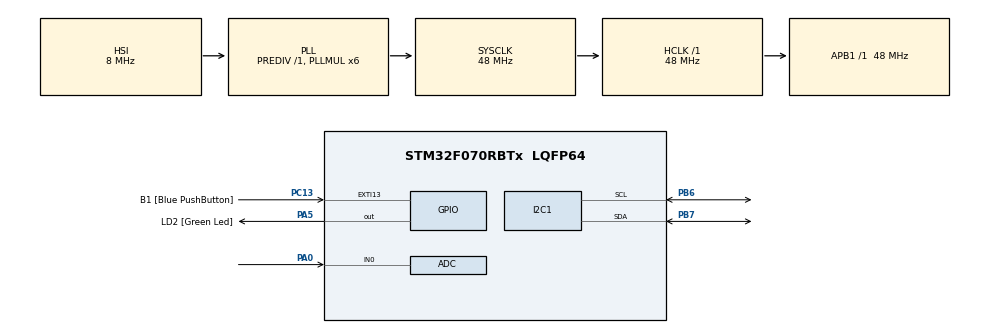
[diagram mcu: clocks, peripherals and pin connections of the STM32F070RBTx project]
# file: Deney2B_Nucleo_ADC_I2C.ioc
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ADC.ContinuousConvMode=ENABLE
I2C1.Timing=0x00201D2B
Mcu.Family=STM32F0
Mcu.Name=STM32F070RBTx
Mcu.Package=LQFP64
PA0.Mode=IN0
PA0.Signal=ADC_IN0
PA13.GPIO_Label=TMS
PA13.Signal=SYS_SWDIO
PA2.GPIO_Label=USART_TX
PA2.Signal=USART2_TX
PA3.GPIO_Label=USART_RX
PA3.Signal=USART2_RX
PA5.GPIO_Label=LD2 [Green Led]
PA5.Signal=GPIO_Output
PB6.Mode=I2C
PB6.Signal=I2C1_SCL
PB7.Mode=I2C
PB7.Signal=I2C1_SDA
PC13.GPIO_Label=B1 [Blue PushButton]
PC13.GPIO_ModeDefaultEXTI=GPIO_MODE_IT_FALLING
PC13.Signal=GPXTI13
PC14-OSC32_IN.GPIO_Label=RCC_OSC32_IN
PC14-OSC32_IN.Signal=RCC_OSC32_IN
PC15-OSC32_OUT.GPIO_Label=RCC_OSC32_OUT
PC15-OSC32_OUT.Signal=RCC_OSC32_OUT
PF0-OSC_IN.GPIO_Label=RCC_OSC_IN
PF0-OSC_IN.Signal=RCC_OSC_IN
PF1-OSC_OUT.GPIO_Label=RCC_OSC_OUT
PF1-OSC_OUT.Signal=RCC_OSC_OUT
ProjectManager.HeapSize=0x200
ProjectManager.StackSize=0x400
ProjectManager.TargetToolchain=STM32CubeIDE
RCC.AHBFreq_Value=48000000
RCC.APB1Freq_Value=48000000
RCC.APB1TimFreq_Value=48000000
RCC.HCLKFreq_Value=48000000
RCC.PLLMUL=RCC_PLL_MUL6
RCC.SYSCLKFreq_VALUE=48000000
RCC.SYSCLKSource=RCC_SYSCLKSOURCE_PLLCLK
board=NUCLEO-F070RB

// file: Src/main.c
/* USER CODE BEGIN Header */
/**
  ******************************************************************************
  * @file           : main.c
  * @brief          : Main program body
  ******************************************************************************
  * @attention
  *
  * Copyright (c) 2025 STMicroelectronics.
  * All rights reserved.
  *
  * This software is licensed under terms that can be found in the LICENSE file
  * in the root directory of this software component.
  * If no LICENSE file comes with this software, it is provided AS-IS.
  *
  ******************************************************************************
  */
/* USER CODE END Header */
#include "main.h"

/* USER CODE BEGIN Includes */
#include "i2c-lcd.h"
#include <stdio.h>  // sprintf fonksiyonu ile metin birleştirmek için gerekli
/* USER CODE END Includes */

ADC_HandleTypeDef hadc;

I2C_HandleTypeDef hi2c1;

/* USER CODE BEGIN PV */
uint32_t adc_val = 0;   // ADC'den okunan ham değer (0 - 4095 arası)
float voltage = 0.0;    // Hesaplanacak voltaj değeri (0.00V - 3.30V arası)
char lcd_buffer[20];    // LCD'ye yazılacak metni tutan hafıza
/* USER CODE END PV */

void SystemClock_Config(void);
static void MX_GPIO_Init(void);
static void MX_ADC_Init(void);
static void MX_I2C1_Init(void);

int main(void)
{

  /* MCU Configuration--------------------------------------------------------*/

  /* Reset of all peripherals, Initializes the Flash interface and the Systick. */
  HAL_Init();

  /* Configure the system clock */
  SystemClock_Config();

  /* Initialize all configured peripherals */
  MX_GPIO_Init();
  MX_ADC_Init();
  MX_I2C1_Init();
  /* USER CODE BEGIN 2 */
    lcd_init();                     // LCD ekranı başlat
    lcd_send_string("Sivas CU");    // Açılış mesajı 1. satır
    lcd_put_cur(1, 0);              // Alt satıra geç
    lcd_send_string("Müh. Fakultesi");// Açılış mesajı 2. satır
    HAL_Delay(8000);                // 2 saniye bekle
    lcd_clear();                    // Ekranı temizle

    HAL_ADC_Start(&hadc);           // ADC birimini başlat
    /* USER CODE END 2 */

  /* Infinite loop */
  while (1)
  {
	  /* USER CODE BEGIN 3 */
	  	  // 1. ADC'den Veri Okuma
	  	  HAL_ADC_PollForConversion(&hadc, 100); // Dönüşümün bitmesini bekle
	  	  adc_val = HAL_ADC_GetValue(&hadc);     // Ham değeri (0-4095) oku

	  	  // 2. Voltaj Dönüşümü (Matematiksel Hesaplama)
	  	  // Formül: (Okunan Değer * Referans Voltajı) / Çözünürlük
	  	  voltage = (adc_val * 3.3) / 4095.0;

	  	  // 3. LCD'ye Yazdırma

	  	  // 1. Satır: Ham ADC Değeri
	  	  lcd_put_cur(0, 0);
	  	  sprintf(lcd_buffer, "Raw ADC: %lu   ", adc_val); // "Raw ADC: 2048" gibi yazar
	  	  lcd_send_string(lcd_buffer);

	  	  // 2. Satır: Hesaplanan Voltaj
	  	  lcd_put_cur(1, 0);
	  	  sprintf(lcd_buffer, "Volt: %.2f V   ", voltage); // "Volt: 1.65 V" gibi yazar
	  	  lcd_send_string(lcd_buffer);

	  	  HAL_Delay(200); // Gözün takip edebilmesi için 200ms bekle
	    }
	    /* USER CODE END 3 */
}

void SystemClock_Config(void)
{
  RCC_OscInitTypeDef RCC_OscInitStruct = {0};
  RCC_ClkInitTypeDef RCC_ClkInitStruct = {0};
  RCC_PeriphCLKInitTypeDef PeriphClkInit = {0};

  /** Initializes the RCC Oscillators according to the specified parameters
  * in the RCC_OscInitTypeDef structure.
  */
  RCC_OscInitStruct.OscillatorType = RCC_OSCILLATORTYPE_HSI|RCC_OSCILLATORTYPE_HSI14;
  RCC_OscInitStruct.HSIState = RCC_HSI_ON;
  RCC_OscInitStruct.HSI14State = RCC_HSI14_ON;
  RCC_OscInitStruct.HSICalibrationValue = RCC_HSICALIBRATION_DEFAULT;
  RCC_OscInitStruct.HSI14CalibrationValue = 16;
  RCC_OscInitStruct.PLL.PLLState = RCC_PLL_ON;
  RCC_OscInitStruct.PLL.PLLSource = RCC_PLLSOURCE_HSI;
  RCC_OscInitStruct.PLL.PLLMUL = RCC_PLL_MUL6;
  RCC_OscInitStruct.PLL.PREDIV = RCC_PREDIV_DIV1;
  if (HAL_RCC_OscConfig(&RCC_OscInitStruct) != HAL_OK)
  {
    Error_Handler();
  }

  /** Initializes the CPU, AHB and APB buses clocks
  */
  RCC_ClkInitStruct.ClockType = RCC_CLOCKTYPE_HCLK|RCC_CLOCKTYPE_SYSCLK
                              |RCC_CLOCKTYPE_PCLK1;
  RCC_ClkInitStruct.SYSCLKSource = RCC_SYSCLKSOURCE_PLLCLK;
  RCC_ClkInitStruct.AHBCLKDivider = RCC_SYSCLK_DIV1;
  RCC_ClkInitStruct.APB1CLKDivider = RCC_HCLK_DIV1;

  if (HAL_RCC_ClockConfig(&RCC_ClkInitStruct, FLASH_LATENCY_1) != HAL_OK)
  {
    Error_Handler();
  }
  PeriphClkInit.PeriphClockSelection = RCC_PERIPHCLK_I2C1;
  PeriphClkInit.I2c1ClockSelection = RCC_I2C1CLKSOURCE_HSI;
  if (HAL_RCCEx_PeriphCLKConfig(&PeriphClkInit) != HAL_OK)
  {
    Error_Handler();
  }
}

static void MX_ADC_Init(void)
{

  ADC_ChannelConfTypeDef sConfig = {0};

  /** Configure the global features of the ADC (Clock, Resolution, Data Alignment and number of conversion)
  */
  hadc.Instance = ADC1;
  hadc.Init.ClockPrescaler = ADC_CLOCK_ASYNC_DIV1;
  hadc.Init.Resolution = ADC_RESOLUTION_12B;
  hadc.Init.DataAlign = ADC_DATAALIGN_RIGHT;
  hadc.Init.ScanConvMode = ADC_SCAN_DIRECTION_FORWARD;
  hadc.Init.EOCSelection = ADC_EOC_SINGLE_CONV;
  hadc.Init.LowPowerAutoWait = DISABLE;
  hadc.Init.LowPowerAutoPowerOff = DISABLE;
  hadc.Init.ContinuousConvMode = ENABLE;
  hadc.Init.DiscontinuousConvMode = DISABLE;
  hadc.Init.ExternalTrigConv = ADC_SOFTWARE_START;
  hadc.Init.ExternalTrigConvEdge = ADC_EXTERNALTRIGCONVEDGE_NONE;
  hadc.Init.DMAContinuousRequests = DISABLE;
  hadc.Init.Overrun = ADC_OVR_DATA_PRESERVED;
  if (HAL_ADC_Init(&hadc) != HAL_OK)
  {
    Error_Handler();
  }

  /** Configure for the selected ADC regular channel to be converted.
  */
  sConfig.Channel = ADC_CHANNEL_0;
  sConfig.Rank = ADC_RANK_CHANNEL_NUMBER;
  sConfig.SamplingTime = ADC_SAMPLETIME_1CYCLE_5;
  if (HAL_ADC_ConfigChannel(&hadc, &sConfig) != HAL_OK)
  {
    Error_Handler();
  }

}

static void MX_I2C1_Init(void)
{

  hi2c1.Instance = I2C1;
  hi2c1.Init.Timing = 0x00201D2B;
  hi2c1.Init.OwnAddress1 = 0;
  hi2c1.Init.AddressingMode = I2C_ADDRESSINGMODE_7BIT;
  hi2c1.Init.DualAddressMode = I2C_DUALADDRESS_DISABLE;
  hi2c1.Init.OwnAddress2 = 0;
  hi2c1.Init.OwnAddress2Masks = I2C_OA2_NOMASK;
  hi2c1.Init.GeneralCallMode = I2C_GENERALCALL_DISABLE;
  hi2c1.Init.NoStretchMode = I2C_NOSTRETCH_DISABLE;
  if (HAL_I2C_Init(&hi2c1) != HAL_OK)
  {
    Error_Handler();
  }

  /** Configure Analogue filter
  */
  if (HAL_I2CEx_ConfigAnalogFilter(&hi2c1, I2C_ANALOGFILTER_ENABLE) != HAL_OK)
  {
    Error_Handler();
  }

  /** Configure Digital filter
  */
  if (HAL_I2CEx_ConfigDigitalFilter(&hi2c1, 0) != HAL_OK)
  {
    Error_Handler();
  }

}

static void MX_GPIO_Init(void)
{
  GPIO_InitTypeDef GPIO_InitStruct = {0};

  /* GPIO Ports Clock Enable */
  __HAL_RCC_GPIOC_CLK_ENABLE();
  __HAL_RCC_GPIOF_CLK_ENABLE();
  __HAL_RCC_GPIOA_CLK_ENABLE();
  __HAL_RCC_GPIOB_CLK_ENABLE();

  /*Configure GPIO pin Output Level */
  HAL_GPIO_WritePin(LD2_GPIO_Port, LD2_Pin, GPIO_PIN_RESET);

  /*Configure GPIO pin : B1_Pin */
  GPIO_InitStruct.Pin = B1_Pin;
  GPIO_InitStruct.Mode = GPIO_MODE_IT_FALLING;
  GPIO_InitStruct.Pull = GPIO_NOPULL;
  HAL_GPIO_Init(B1_GPIO_Port, &GPIO_InitStruct);

  /*Configure GPIO pins : USART_TX_Pin USART_RX_Pin */
  GPIO_InitStruct.Pin = USART_TX_Pin|USART_RX_Pin;
  GPIO_InitStruct.Mode = GPIO_MODE_AF_PP;
  GPIO_InitStruct.Pull = GPIO_NOPULL;
  GPIO_InitStruct.Speed = GPIO_SPEED_FREQ_HIGH;
  GPIO_InitStruct.Alternate = GPIO_AF1_USART2;
  HAL_GPIO_Init(GPIOA, &GPIO_InitStruct);

  /*Configure GPIO pin : LD2_Pin */
  GPIO_InitStruct.Pin = LD2_Pin;
  GPIO_InitStruct.Mode = GPIO_MODE_OUTPUT_PP;
  GPIO_InitStruct.Pull = GPIO_NOPULL;
  GPIO_InitStruct.Speed = GPIO_SPEED_FREQ_LOW;
  HAL_GPIO_Init(LD2_GPIO_Port, &GPIO_InitStruct);

}

void Error_Handler(void)
{
  __disable_irq();
  while (1)
  {
  }
}
